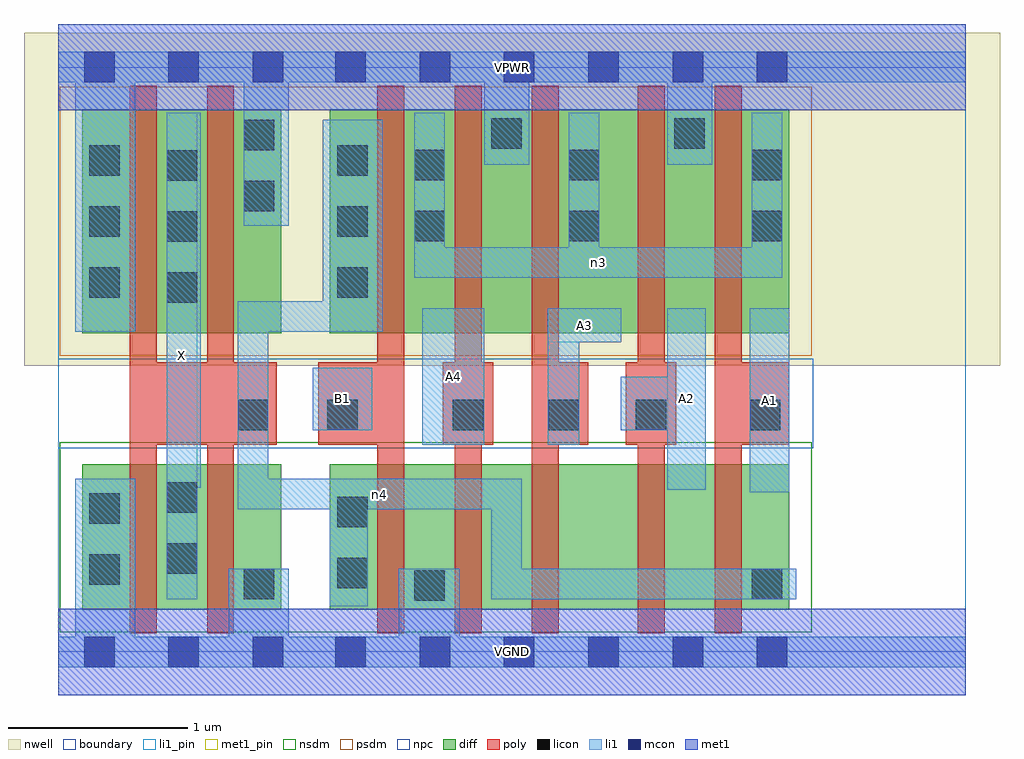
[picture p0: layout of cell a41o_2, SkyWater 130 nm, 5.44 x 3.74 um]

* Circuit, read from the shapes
.subckt a41o_2 A1 A2 A3 A4 B1 VGND VPWR X n3 n4
XM1 X n4 VGND VSUBS sky130_fd_pr__nfet_01v8 w=0.81 l=0.15 m=2
XM2 VGND B1 n4 VSUBS sky130_fd_pr__nfet_01v8 w=0.81 l=0.15
XM3 n1 A4 VGND VSUBS sky130_fd_pr__nfet_01v8 w=0.81 l=0.15
XM4 n2 A3 n1 VSUBS sky130_fd_pr__nfet_01v8 w=0.81 l=0.15
XM5 n5 A2 n2 VSUBS sky130_fd_pr__nfet_01v8 w=0.81 l=0.15
XM6 n4 A1 n5 VSUBS sky130_fd_pr__nfet_01v8 w=0.81 l=0.15
XM7 X n4 VPWR n6 sky130_fd_pr__pfet_01v8 w=1.25 l=0.15 m=2
XM8 n3 B1 n4 n6 sky130_fd_pr__pfet_01v8 w=1.25 l=0.15
XM9 VPWR A4 n3 n6 sky130_fd_pr__pfet_01v8 w=1.25 l=0.15
XM10 n3 A3 VPWR n6 sky130_fd_pr__pfet_01v8 w=1.25 l=0.15
XM11 VPWR A2 n3 n6 sky130_fd_pr__pfet_01v8 w=1.25 l=0.15
XM12 n3 A1 VPWR n6 sky130_fd_pr__pfet_01v8 w=1.25 l=0.15
.ends

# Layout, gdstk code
import gdstk
lib = gdstk.Library(unit=1e-6, precision=1e-09)
def R(c, l, rs):  # rectangles x0, y0, x1, y1
    for r in rs: c.add(gdstk.rectangle(r[:2], r[2:], *l))
def A(c, l, x, y, w, h, nx, ny, dx, dy):  # array of equal rectangles
    R(c, l, [(x+i*dx, y+j*dy, x+i*dx+w, y+j*dy+h) for i in range(nx) for j in range(ny)])
nwell = (64, 20)
diff = (65, 20)
poly = (66, 20)
licon = (66, 44)
li1_pin = (67, 16)
li1 = (67, 20)
mcon = (67, 44)
met1_pin = (68, 16)
met1 = (68, 20)
nsdm = (93, 44)
psdm = (94, 20)
npc = (95, 20)
boundary = (235, 4)

a41o_2 = lib.new_cell('a41o_2')
R(a41o_2, nwell, [(-0.19,1.595,5.25,3.45), (0,1.595,5.06,3.45)])
R(a41o_2, diff, [(0.135,0.235,1.245,1.045), (1.515,0.235,4.075,1.045), (0.135,1.775,1.245,3.025), (1.515,1.775,4.075,3.025)])
A(a41o_2, poly, 1.78, 0.105, 0.15, 3.05, 3, 1, 0.43, 0)
R(a41o_2, poly, [(0.4,0.105,0.55,3.155), (0.83,0.105,0.98,3.155), (3.23,0.105,3.38,3.155), (3.66,0.105,3.81,3.155), (0.4,1.155,1.22,1.615), (1.45,1.155,1.93,1.615), (2.145,1.155,2.425,1.615), (2.64,1.155,2.955,1.615), (3.165,1.155,3.445,1.615), (3.66,1.155,4.075,1.615)])
A(a41o_2, licon, 0.605, 1.945, 0.17, 0.17, 1, 3, 0, 0.34)
A(a41o_2, licon, 0.175, 1.975, 0.17, 0.17, 1, 3, 0, 0.34)
A(a41o_2, licon, 1.555, 1.975, 0.17, 0.17, 1, 3, 0, 0.34)
R(a41o_2, licon, [(1.985,0.285,2.155,0.455), (1.035,0.295,1.205,0.465), (3.865,0.295,4.035,0.465), (1.555,0.355,1.725,0.525), (0.175,0.375,0.345,0.545), (0.605,0.435,0.775,0.605), (1.555,0.695,1.725,0.865), (0.175,0.715,0.345,0.885), (0.605,0.775,0.775,0.945), (1,1.235,1.17,1.405), (1.5,1.235,1.67,1.405), (2.2,1.235,2.37,1.405), (2.735,1.235,2.905,1.405), (3.22,1.235,3.39,1.405), (3.855,1.235,4.025,1.405), (1.985,2.29,2.155,2.46), (2.845,2.29,3.015,2.46), (3.865,2.29,4.035,2.46), (1.035,2.455,1.205,2.625), (1.985,2.63,2.155,2.8), (2.845,2.63,3.015,2.8), (3.865,2.63,4.035,2.8), (1.035,2.795,1.205,2.965), (2.415,2.805,2.585,2.975), (3.435,2.805,3.605,2.975)])
R(a41o_2, li1_pin, [(0.605,0.295,0.775,3.005), (3.855,0.89,4.075,1.915), (3.395,0.905,3.61,1.915), (2.03,1.155,2.375,1.915), (1.42,1.235,1.75,1.585), (2.73,1.725,3.14,1.915)])
R(a41o_2, li1, [(0,-0.085,5.06,0.085), (0.095,-0.085,0.43,0.965), (0.95,-0.085,1.285,0.465), (1.9,-0.085,2.24,0.465), (1.515,0.255,1.725,0.965), (0.605,0.295,0.775,3.005), (2.415,0.295,4.115,0.465), (2.415,0.295,2.585,0.965), (1,0.795,2.585,0.965), (1,0.795,1.17,1.955), (3.855,0.89,4.075,1.915), (3.395,0.905,3.61,1.915), (0.605,0.915,0.795,3.005), (2.03,1.155,2.375,1.915), (2.73,1.155,2.905,1.915), (1.42,1.235,1.75,1.585), (3.135,1.235,3.61,1.535), (2.73,1.725,3.14,1.915), (0.095,1.785,0.43,3.345), (1,1.785,1.81,1.955), (1.475,1.785,1.81,2.965), (1.985,2.085,4.035,2.255), (1.985,2.085,2.155,3.005), (2.845,2.085,3.015,3.005), (3.865,2.085,4.035,3.005), (1.035,2.375,1.285,3.345), (2.375,2.715,2.625,3.345), (3.395,2.715,3.645,3.345), (0,3.175,5.06,3.345)])
A(a41o_2, mcon, 0.145, -0.085, 0.17, 0.17, 3, 2, 0.47, 3.26)
A(a41o_2, mcon, 1.545, -0.085, 0.17, 0.17, 6, 2, 0.47, 3.26)
R(a41o_2, met1_pin, [(0,-0.24,5.06,0.24), (0,3.02,5.06,3.5)])
R(a41o_2, met1, [(0,-0.24,5.06,0.24), (0,3.02,5.06,3.5)])
R(a41o_2, nsdm, [(0.01,0.11,4.2,1.17)])
R(a41o_2, psdm, [(0.01,1.65,4.2,3.15)])
R(a41o_2, npc, [(0,1.135,4.21,1.635)])
R(a41o_2, boundary, [(0,0,5.06,3.26)])
a41o_2.add(gdstk.Label('A1', (3.965,1.402), layer=67, texttype=5))
a41o_2.add(gdstk.Label('A2', (3.502,1.41), layer=67, texttype=5))
a41o_2.add(gdstk.Label('A3', (2.935,1.82), layer=67, texttype=5))
a41o_2.add(gdstk.Label('A4', (2.202,1.535), layer=67, texttype=5))
a41o_2.add(gdstk.Label('B1', (1.585,1.41), layer=67, texttype=5))
a41o_2.add(gdstk.Label('X', (0.69,1.65), layer=67, texttype=5))
a41o_2.add(gdstk.Label('n4', (1.792,0.88), layer=67, texttype=5))
a41o_2.add(gdstk.Label('n3', (3.01,2.17), layer=67, texttype=5))
a41o_2.add(gdstk.Label('VPWR', (2.53,3.26), layer=68, texttype=5))
a41o_2.add(gdstk.Label('VGND', (2.53,0), layer=68, texttype=5))
a41o_2.add(gdstk.Label('A1', (3.965,1.402), layer=67, texttype=16))
a41o_2.add(gdstk.Label('A2', (3.502,1.41), layer=67, texttype=16))
a41o_2.add(gdstk.Label('A3', (2.935,1.82), layer=67, texttype=16))
a41o_2.add(gdstk.Label('A4', (2.202,1.535), layer=67, texttype=16))
a41o_2.add(gdstk.Label('B1', (1.585,1.41), layer=67, texttype=16))
a41o_2.add(gdstk.Label('X', (0.69,1.65), layer=67, texttype=16))
a41o_2.add(gdstk.Label('VPWR', (2.53,3.26), layer=68, texttype=16))
a41o_2.add(gdstk.Label('VGND', (2.53,0), layer=68, texttype=16))

lib.write_gds('a41o_2.gds')
